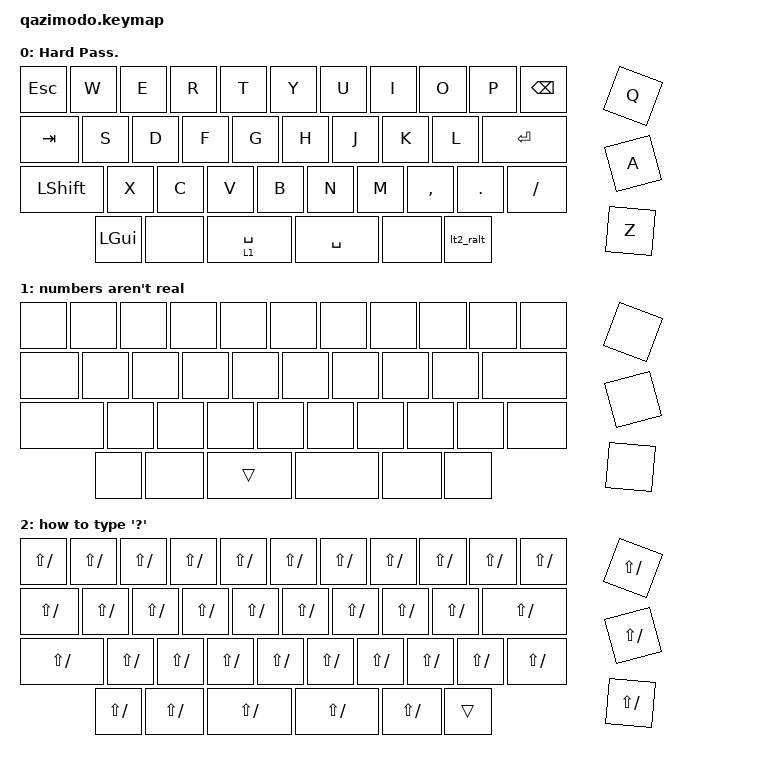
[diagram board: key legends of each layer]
/*
* Copyright (c) 2025 The ZMK Contributors
*
* SPDX-License-Identifier: MIT
*/

#include <behaviors.dtsi>
#include <dt-bindings/zmk/keys.h>

/ {

    behaviors {
        lt2_ralt: lt2_ralt {
            compatible = "zmk,behavior-tap-dance";
            #binding-cells = <0>;
            tapping-term-ms = <200>;
            bindings = <&kp RALT>, <&mo 2>;
        };
    };

    combos {
        compatible = "zmk,combos";

        combo_boot {
            key-positions = <0 10>;
            bindings = <&bootloader>;
        };

        combo_unlock {
            key-positions = <0 12>;
            bindings = <&studio_unlock>;
        };

        combo_qaz {
            key-positions = <11 22 33>;
            bindings = <&hard_pass>;
        };
    };

    /* Pull quote is here for posterity, and in hopes it can be susbstituted in after some ZMK macro enhancements. I WANT TO BELIEVE */
/*
How would you even type a "?" with that keyboard. No, I would not use a keyboard that was missing all numbers, 90% of symbols and threw 3 keys haphazardly to the side.

This is a joke at best and mostly just a waste. Just because you can doesn't mean you should. It's junk like this that makes the alternate keyboard community look like a bunch of schizos. "Why would I use something that works when I can remove tons of functionality to be cutesy?".

Hard pass.
*/

    macros {
        hard_pass: hard_pass {
            compatible = "zmk,behavior-macro";
            #binding-cells = <0>;
            bindings = <&kp LS(H) &kp A &kp R &kp D &kp SPACE &kp P &kp A &kp S &kp S &kp DOT &kp RET>
            ;
        };
    };

    keymap {
        compatible = "zmk,keymap";

        hard_pass_layer {
            display-name = "Hard Pass.";
            bindings = <
&kp ESC    &kp W     &kp E  &kp R        &kp T  &kp Y      &kp U  &kp I      &kp O       &kp P      &kp BSPC    &kp Q
&kp TAB    &kp S     &kp D  &kp F        &kp G  &kp H      &kp J  &kp K      &kp L       &kp ENTER              &kp A
&kp LSHFT  &kp X     &kp C  &kp V        &kp B  &kp N      &kp M  &kp COMMA  &kp DOT     &kp FSLH               &kp Z
           &kp LGUI  &none  &lt 1 SPACE         &kp SPACE         &none      &lt2_ralt
            >;
        };

        numbers_layer {
            display-name = "numbers aren't real";
            bindings = <
&none  &none  &none  &none   &none  &none  &none  &none  &none  &none  &none    &none
&none  &none  &none  &none   &none  &none  &none  &none  &none  &none           &none
&none  &none  &none  &none   &none  &none  &none  &none  &none  &none           &none
       &none  &none  &trans         &none         &none  &none
            >;
        };

        question_mark_layer {
            display-name = "how to type '?'";
            bindings = <
&kp LS(FSLH)  &kp LS(FSLH)  &kp LS(FSLH)  &kp LS(FSLH)  &kp LS(FSLH)  &kp LS(FSLH)  &kp LS(FSLH)  &kp LS(FSLH)  &kp LS(FSLH)  &kp LS(FSLH)  &kp LS(FSLH)    &kp LS(FSLH)
&kp LS(FSLH)  &kp LS(FSLH)  &kp LS(FSLH)  &kp LS(FSLH)  &kp LS(FSLH)  &kp LS(FSLH)  &kp LS(FSLH)  &kp LS(FSLH)  &kp LS(FSLH)  &kp LS(FSLH)                  &kp LS(FSLH)
&kp LS(FSLH)  &kp LS(FSLH)  &kp LS(FSLH)  &kp LS(FSLH)  &kp LS(FSLH)  &kp LS(FSLH)  &kp LS(FSLH)  &kp LS(FSLH)  &kp LS(FSLH)  &kp LS(FSLH)                  &kp LS(FSLH)
              &kp LS(FSLH)  &kp LS(FSLH)  &kp LS(FSLH)                &kp LS(FSLH)                &kp LS(FSLH)  &trans
            >;
        };
    };
};
